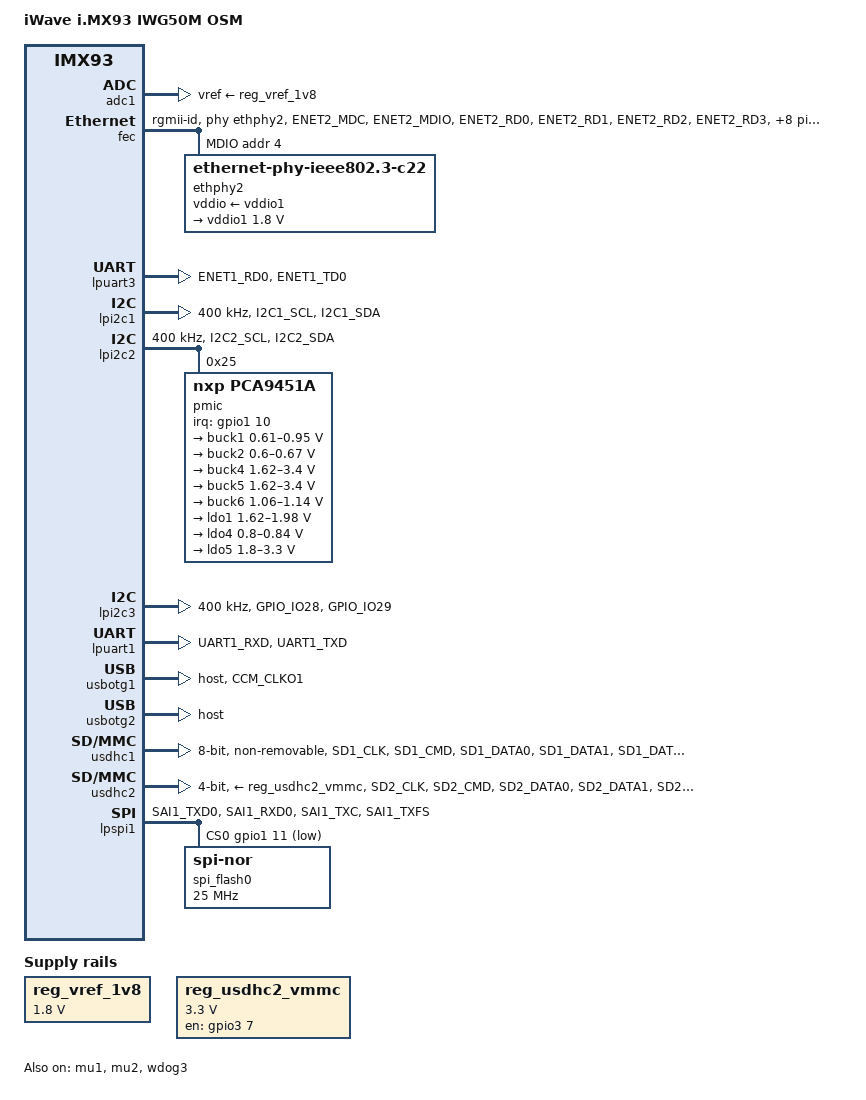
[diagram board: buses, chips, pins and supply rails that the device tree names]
// SPDX-License-Identifier: (GPL-2.0+ OR MIT)
/*
 * Copyright 2025 iWave Global Pvt. Ltd.
 */

/dts-v1/;

#include <dt-bindings/usb/pd.h>
#include "imx93.dtsi"

/ {
	model = "iWave i.MX93 IWG50M OSM";
	compatible = "fsl,imx93-11x11-evk", "fsl,imx93";

	chosen {
		stdout-path = &lpuart1;
	};

	config {
                iwg50m-adc = <&adc1 3>, <&adc1 2>;
	};

	reserved-memory {
		#address-cells = <2>;
		#size-cells = <2>;
		ranges;

		linux,cma {
			compatible = "shared-dma-pool";
			reusable;
			alloc-ranges = <0 0x80000000 0 0x40000000>;
			size = <0 0x10000000>;
			linux,cma-default;
		};

		};


	reg_vref_1v8: regulator-adc-vref {
		compatible = "regulator-fixed";
		regulator-name = "vref_1v8";
		regulator-min-microvolt = <1800000>;
		regulator-max-microvolt = <1800000>;
	};


	reg_usdhc2_vmmc: regulator-usdhc2 {
		compatible = "regulator-fixed";
		pinctrl-names = "default";
		pinctrl-0 = <&pinctrl_reg_usdhc2_vmmc>;
		regulator-name = "VSD_3V3";
		regulator-min-microvolt = <3300000>;
		regulator-max-microvolt = <3300000>;
		gpio = <&gpio3 7 GPIO_ACTIVE_HIGH>;
		off-on-delay-us = <12000>;
		enable-active-high;
	};
};

&adc1 {
	vref-supply = <&reg_vref_1v8>;
	status = "okay";
};

/*&eqos {
        pinctrl-names = "default";
	pinctrl-0 = <&pinctrl_eqos>;
	phy-mode = "rgmii-id";
	phy-handle = <&ethphy1>;
	status = "okay";

	mdio {
		compatible = "snps,dwmac-mdio";
		#address-cells = <1>;
		#size-cells = <0>;
		clock-frequency = <5000000>;

                ethphy1: ethernet-phy@4 {
                        compatible = "ethernet-phy-ieee802.3-c22";
                        reg = <4>;
                        eee-broken-1000t;
                        adi,rx-internal-delay-ps = <2000>; /* 2 nano seconds
                        adi,tx-internal-delay-ps = <2000>;
                        vddio-supply = <&vddio0>;

                        vddio0: vddio-regulator {
                                regulator-min-microvolt = <1800000>;
                                regulator-max-microvolt = <1800000>;
                        };
		};
	};
};*/

&fec {
        pinctrl-names = "default";
	pinctrl-0 = <&pinctrl_fec>;
	phy-mode = "rgmii-id";
	phy-handle = <&ethphy2>;
	fsl,magic-packet;
	status = "okay";

	mdio {
		#address-cells = <1>;
		#size-cells = <0>;
		clock-frequency = <5000000>;

                ethphy2: ethernet-phy@4 {
                        compatible = "ethernet-phy-ieee802.3-c22";
                        reg = <4>;
//                        reset-gpios = <&gpio3 23 GPIO_ACTIVE_LOW>;
//                       irq-gpios = <&gpio3 24 GPIO_ACTIVE_LOW>;
//                       reset-assert-us = <10000>;
 //                       reset-deassert-us = <80000>;
                        eee-broken-1000t;
                        vddio-supply = <&vddio1>;

                        vddio1: vddio-regulator {
                                regulator-min-microvolt = <1800000>;
                                regulator-max-microvolt = <1800000>;
		};

	};
};
};

&lpuart3 { /* UART3: K-Line UART */
        pinctrl-names = "default";
        pinctrl-0 = <&pinctrl_uart3>;
        status = "okay";
};

&lpi2c1 {
	clock-frequency = <400000>;
	pinctrl-names = "default";
	pinctrl-0 = <&pinctrl_lpi2c1>;
	status = "okay";
};

&lpi2c2 {
	clock-frequency = <400000>;
	pinctrl-names = "default";
	pinctrl-0 = <&pinctrl_lpi2c2>;
	status = "okay";


	pmic@25 {
		compatible = "nxp,pca9451a";
		reg = <0x25>;
		pinctrl-names = "default";
		pinctrl-0 = <&pinctrl_pmic>;
		interrupt-parent = <&gpio1>;
		interrupts = <10 IRQ_TYPE_EDGE_FALLING>;

		regulators {
			buck1: BUCK1 {
				regulator-name = "BUCK1";
				regulator-min-microvolt = <610000>;
				regulator-max-microvolt = <950000>;
				regulator-boot-on;
				regulator-always-on;
				regulator-ramp-delay = <3125>;
			};

			buck2: BUCK2 {
				regulator-name = "BUCK2";
				regulator-min-microvolt = <600000>;
				regulator-max-microvolt = <670000>;
				regulator-boot-on;
				regulator-always-on;
				regulator-ramp-delay = <3125>;
			};

			buck4: BUCK4 {
				regulator-name = "BUCK4";
				regulator-min-microvolt = <1620000>;
				regulator-max-microvolt = <3400000>;
				regulator-boot-on;
				regulator-always-on;
			};

			buck5: BUCK5 {
				regulator-name = "BUCK5";
				regulator-min-microvolt = <1620000>;
				regulator-max-microvolt = <3400000>;
				regulator-boot-on;
				regulator-always-on;
			};

			buck6: BUCK6 {
				regulator-name = "BUCK6";
				regulator-min-microvolt = <1060000>;
				regulator-max-microvolt = <1140000>;
				regulator-boot-on;
				regulator-always-on;
			};

			ldo1: LDO1 {
				regulator-name = "LDO1";
				regulator-min-microvolt = <1620000>;
				regulator-max-microvolt = <1980000>;
				regulator-boot-on;
				regulator-always-on;
			};

			ldo4: LDO4 {
				regulator-name = "LDO4";
				regulator-min-microvolt = <800000>;
				regulator-max-microvolt = <840000>;
				regulator-boot-on;
				regulator-always-on;
			};

			ldo5: LDO5 {
				regulator-name = "LDO5";
				regulator-min-microvolt = <1800000>;
				regulator-max-microvolt = <3300000>;
				regulator-boot-on;
				regulator-always-on;
			};
		};
	};
};

&lpi2c3 {
	clock-frequency = <400000>;
	pinctrl-names = "default";
	pinctrl-0 = <&pinctrl_lpi2c3>;
	status = "okay";
};

&lpuart1 { /* console */
	pinctrl-names = "default";
	pinctrl-0 = <&pinctrl_uart1>;
	status = "okay";
};

&mu1 {
	status = "okay";
};

&mu2 {
	status = "okay";
};

&usbotg1 {
	dr_mode = "host";
	pinctrl-names = "default";
	pinctrl-0 = <&pinctrl_usbotg1>;
	disable-over-current;
	status = "okay";
};

&usbotg2 {
	dr_mode = "host";
	status = "okay";
};

&usdhc1 {
	pinctrl-names = "default", "state_100mhz", "state_200mhz";
	pinctrl-0 = <&pinctrl_usdhc1>;
	pinctrl-1 = <&pinctrl_usdhc1_100mhz>;
	pinctrl-2 = <&pinctrl_usdhc1_200mhz>;
	bus-width = <8>;
	non-removable;
	status = "okay";
};

&usdhc2 {
	pinctrl-names = "default", "state_100mhz", "state_200mhz", "sleep";
	pinctrl-0 = <&pinctrl_usdhc2>, <&pinctrl_usdhc2_gpio>;
	pinctrl-1 = <&pinctrl_usdhc2_100mhz>, <&pinctrl_usdhc2_gpio>;
	pinctrl-2 = <&pinctrl_usdhc2_200mhz>, <&pinctrl_usdhc2_gpio>;
	pinctrl-3 = <&pinctrl_usdhc2_sleep>, <&pinctrl_usdhc2_gpio_sleep>;
//	cd-gpios = <&gpio3 00 GPIO_ACTIVE_LOW>;
	vmmc-supply = <&reg_usdhc2_vmmc>;
	bus-width = <4>;
	status = "okay";
	no-mmc;
};

&wdog3 {
	status = "okay";
};

&lpspi1 {
        #address-cells = <1>;
        #size-cells = <0>;
        assigned-clock-rates = <60000000>;
        fsl,spi-num-chipselects = <1>;
	pinctrl-names = "default";
        pinctrl-0 = <&pinctrl_lpspi1>, <&pinctrl_lpspi1_cs>;
        cs-gpios = <&gpio1 11 GPIO_ACTIVE_LOW>;
	status = "okay";

        spi_flash0: spi@0 { /* IS25WP016D-JNLE SPI Flash */
                reg = <0>;
                compatible = "jedec,spi-nor";
                spi-max-frequency = <25000000>;
        };
};

&iomuxc {
	pinctrl_eqos: eqosgrp {
		fsl,pins = <
			MX93_PAD_ENET1_MDC__ENET_QOS_MDC			0x57e
			MX93_PAD_ENET1_MDIO__ENET_QOS_MDIO			0x57e
			MX93_PAD_ENET1_RD0__ENET_QOS_RGMII_RD0			0x57e
			MX93_PAD_ENET1_RD1__ENET_QOS_RGMII_RD1			0x57e
			MX93_PAD_ENET1_RD2__ENET_QOS_RGMII_RD2			0x57e
			MX93_PAD_ENET1_RD3__ENET_QOS_RGMII_RD3			0x57e
			MX93_PAD_ENET1_RXC__CCM_ENET_QOS_CLOCK_GENERATE_RX_CLK	0x5fe
			MX93_PAD_ENET1_RX_CTL__ENET_QOS_RGMII_RX_CTL		0x57e
			MX93_PAD_ENET1_TD0__ENET_QOS_RGMII_TD0			0x57e
			MX93_PAD_ENET1_TD1__ENET_QOS_RGMII_TD1			0x57e
			MX93_PAD_ENET1_TD2__ENET_QOS_RGMII_TD2			0x57e
			MX93_PAD_ENET1_TD3__ENET_QOS_RGMII_TD3			0x57e
			MX93_PAD_ENET1_TXC__CCM_ENET_QOS_CLOCK_GENERATE_TX_CLK	0x5fe
			MX93_PAD_ENET1_TX_CTL__ENET_QOS_RGMII_TX_CTL		0x57e
		>;
	};

	pinctrl_expansion: expansion_pinsgrp {
		fsl,pins = <
                                      /* General */
                        MX93_PAD_GPIO_IO10__GPIO2_IO10                  0x518 /* STATUS  */
                        MX93_PAD_SD3_DATA2__GPIO3_IO24                  0x31d /* LOAD DUMP CIRCUIT Flag_Vin  */

                        /* Cellular */
                        MX93_PAD_GPIO_IO19__GPIO2_IO19                  0x518 /* CELLULAR SWITCH enable */
                        MX93_PAD_CCM_CLKO3__GPIO4_IO28                  0x51d /* CELLULAR PWRKEY */
                        MX93_PAD_SD2_CD_B__GPIO3_IO00                           0x51d /* CELLULAR Reset Pin */
                        MX93_PAD_SD2_RESET_B__GPIO3_IO07                        0x51d /* CELLULAR Status Pin */

                        /* MCU */
                        MX93_PAD_GPIO_IO11__GPIO2_IO11                  0x118 /* MCU ISP pin */
                        MX93_PAD_GPIO_IO00__GPIO2_IO00                  0x118 /* MCU Reset pin */
                        MX93_PAD_GPIO_IO02__GPIO2_IO02                  0x118 /* MCU nHostIRQ */

                        /* Camera */
/*                        MX93_PAD_CCM_CLKO4__GPIO4_IO29                  0x31d  Camera deserializer GPIO pin.
                        MX93_PAD_SD3_DATA1__GPIO3_IO23                  0x31d  Camera deserializer GPIO pin.
                        MX93_PAD_SD3_DATA3__GPIO3_IO25                  0x51d  Camera deserializer reset pin */
/*                      MX93_PAD_GPIO_IO06__GPIO2_IO06                  0x118 Camera deserializer reset pin*/

/*                        MX93_PAD_GPIO_IO06__GPIO2_IO06                  0x318  PDn pin for Wi-Fi*/

                        MX93_PAD_GPIO_IO29__GPIO2_IO29                  0x518 /* Touch Interrupt For Display */

                        MX93_PAD_SD3_DATA1__GPIO3_IO23                  0x51d /* ADC1 MCU */
		MX93_PAD_GPIO_IO16__GPIO2_IO16                  0x518 /*CAN-FD1 STB pin */
			MX93_PAD_GPIO_IO17__GPIO2_IO17                  0x518 /* CAN-FD2 STB pin */
				
			MX93_PAD_CCM_CLKO2__GPIO3_IO27                  0x51d /* RTC Irq */
			MX93_PAD_SD3_CMD__GPIO3_IO21                            0x51d /* CAN FD 3 Irq */
			MX93_PAD_SD3_DATA0__GPIO3_IO22                  0x51d /* CAN FD 4 Irq */
			MX93_PAD_SD3_DATA2__GPIO3_IO24                  0x51d /* LOAD DUMP CIRCUIT Flag_Vin  */
			MX93_PAD_CCM_CLKO3__GPIO4_IO28                  0x51d /* CELLULAR PWRKEY */
			MX93_PAD_SD2_CD_B__GPIO3_IO00                           0x51d /* CELLULAR Reset Pin */
			MX93_PAD_SD2_RESET_B__GPIO3_IO07                        0x51d /* CELLULAR Status Pin */

                        MX93_PAD_GPIO_IO06__GPIO2_IO06                  0x118 /* Camera deserializer reset pin*/

                        /* OE Pins */
                        MX93_PAD_CCM_CLKO4__GPIO4_IO29                  0x118 /* OE pin for UART */

                        MX93_PAD_GPIO_IO28__GPIO2_IO28                  0x518 /* 3V3 Rall Switch */

                        MX93_PAD_GPIO_IO29__GPIO2_IO29                  0x518 /* Touch Interrupt For Display */

			MX93_PAD_GPIO_IO08__GPIO2_IO08                  0x518 /* temproray GPIO for UART-D TX */
                        MX93_PAD_GPIO_IO09__GPIO2_IO09                  0x518 /* temproray GPIO for UART-D RX */
			
/*			MX93_PAD_SD2_CLK__GPIO3_IO01                            0x51e  
			MX93_PAD_SD2_CMD__GPIO3_IO02                            0x51e  
                       MX93_PAD_SD2_DATA0__GPIO3_IO03                  0x51e 
                       MX93_PAD_SD2_DATA1__GPIO3_IO04                  0x51e 
                       MX93_PAD_SD2_DATA2__GPIO3_IO05                  0x51e
              	       MX93_PAD_SD2_DATA3__GPIO3_IO06                  0x51e 
			MX93_PAD_GPIO_IO12__GPIO2_IO12                  0x3f8 
			MX93_PAD_SAI1_TXFS__GPIO1_IO11                  0x3fd */
			
/*			MX93_PAD_GPIO_IO25__CAN2_TX                             0x139e  
			MX93_PAD_GPIO_IO27__CAN2_RX                             0x139e 
			MX93_PAD_GPIO_IO04__LPUART6_TX                  0x31D
			MX93_PAD_GPIO_IO05__LPUART6_RX                  0x31D */
			MX93_PAD_GPIO_IO08__LPUART7_TX                  0x518
			MX93_PAD_GPIO_IO09__LPUART7_RX                  0x518 


/*			MX93_PAD_GPIO_IO13__LPSPI8_SIN                  0x3fc
			MX93_PAD_GPIO_IO14__LPSPI8_SOUT                 0x3fc
			MX93_PAD_GPIO_IO15__LPSPI8_SCK                  0x3fc */

		>;
	};

	pinctrl_fec: fecgrp {
		fsl,pins = <
			MX93_PAD_ENET2_MDC__ENET1_MDC			0x57e
			MX93_PAD_ENET2_MDIO__ENET1_MDIO			0x57e
			MX93_PAD_ENET2_RD0__ENET1_RGMII_RD0		0x57e
			MX93_PAD_ENET2_RD1__ENET1_RGMII_RD1		0x57e
			MX93_PAD_ENET2_RD2__ENET1_RGMII_RD2		0x57e
			MX93_PAD_ENET2_RD3__ENET1_RGMII_RD3		0x57e
			MX93_PAD_ENET2_RXC__ENET1_RGMII_RXC		0x5fe
			MX93_PAD_ENET2_RX_CTL__ENET1_RGMII_RX_CTL	0x57e
			MX93_PAD_ENET2_TD0__ENET1_RGMII_TD0		0x57e
			MX93_PAD_ENET2_TD1__ENET1_RGMII_TD1		0x57e
			MX93_PAD_ENET2_TD2__ENET1_RGMII_TD2		0x57e
			MX93_PAD_ENET2_TD3__ENET1_RGMII_TD3		0x57e
			MX93_PAD_ENET2_TXC__ENET1_RGMII_TXC		0x5fe
			MX93_PAD_ENET2_TX_CTL__ENET1_RGMII_TX_CTL	0x57e
		>;
	};



	pinctrl_uart1: uart1grp {
		fsl,pins = <
			MX93_PAD_UART1_RXD__LPUART1_RX			0x31e
			MX93_PAD_UART1_TXD__LPUART1_TX			0x31e
		>;
	};


	pinctrl_lpi2c1: lpi2c1grp {
		fsl,pins = <
			MX93_PAD_I2C1_SCL__LPI2C1_SCL			0x40000b9e
			MX93_PAD_I2C1_SDA__LPI2C1_SDA			0x40000b9e
		>;
	};

	pinctrl_lpi2c2: lpi2c2grp {
		fsl,pins = <
			MX93_PAD_I2C2_SCL__LPI2C2_SCL			0x40000b9e
			MX93_PAD_I2C2_SDA__LPI2C2_SDA			0x40000b9e
		>;
	};

        pinctrl_uart3: uart3grp { /* UART3: K-Line */
                fsl,pins = <
                        MX93_PAD_ENET1_RD0__LPUART3_RX                  0x319
                        MX93_PAD_ENET1_TD0__LPUART3_TX                  0x319
                >;

        };

        pinctrl_pmic: pmic { /* PMIC: IOMUX Pin configuration for PMIC */
		fsl,pins = <
                        MX93_PAD_PDM_BIT_STREAM1__GPIO1_IO10            0x31e /* PMIC INT */
		>;
	};

	pinctrl_iis2mdc0: iis2mdc0grp {
		fsl,pins = <
                	MX93_PAD_GPIO_IO26__GPIO2_IO26                 0x518/* Magnetometer Irq */ 
		>;
	};

	pinctrl_lpi2c3: lpi2c3grp {
		fsl,pins = <
			MX93_PAD_GPIO_IO28__LPI2C3_SDA			0x40000b9e
			MX93_PAD_GPIO_IO29__LPI2C3_SCL			0x40000b9e
		>;
	};

	/* need to config the SION for data and cmd pad, refer to ERR052021 */
	pinctrl_usdhc1: usdhc1grp {
		fsl,pins = <
			MX93_PAD_SD1_CLK__USDHC1_CLK		0x1582
			MX93_PAD_SD1_CMD__USDHC1_CMD		0x40001382
			MX93_PAD_SD1_DATA0__USDHC1_DATA0	0x40001382
			MX93_PAD_SD1_DATA1__USDHC1_DATA1	0x40001382
			MX93_PAD_SD1_DATA2__USDHC1_DATA2	0x40001382
			MX93_PAD_SD1_DATA3__USDHC1_DATA3	0x40001382
			MX93_PAD_SD1_DATA4__USDHC1_DATA4	0x40001382
			MX93_PAD_SD1_DATA5__USDHC1_DATA5	0x40001382
			MX93_PAD_SD1_DATA6__USDHC1_DATA6	0x40001382
			MX93_PAD_SD1_DATA7__USDHC1_DATA7	0x40001382
			MX93_PAD_SD1_STROBE__USDHC1_STROBE	0x1582
		>;
	};

	/* need to config the SION for data and cmd pad, refer to ERR052021 */
	pinctrl_usdhc1_100mhz: usdhc1-100mhzgrp {
		fsl,pins = <
			MX93_PAD_SD1_CLK__USDHC1_CLK		0x158e
			MX93_PAD_SD1_CMD__USDHC1_CMD		0x4000138e
			MX93_PAD_SD1_DATA0__USDHC1_DATA0	0x4000138e
			MX93_PAD_SD1_DATA1__USDHC1_DATA1	0x4000138e
			MX93_PAD_SD1_DATA2__USDHC1_DATA2	0x4000138e
			MX93_PAD_SD1_DATA3__USDHC1_DATA3	0x4000138e
			MX93_PAD_SD1_DATA4__USDHC1_DATA4	0x4000138e
			MX93_PAD_SD1_DATA5__USDHC1_DATA5	0x4000138e
			MX93_PAD_SD1_DATA6__USDHC1_DATA6	0x4000138e
			MX93_PAD_SD1_DATA7__USDHC1_DATA7	0x4000138e
			MX93_PAD_SD1_STROBE__USDHC1_STROBE	0x158e
		>;
	};

	/* need to config the SION for data and cmd pad, refer to ERR052021 */
	pinctrl_usdhc1_200mhz: usdhc1-200mhzgrp {
		fsl,pins = <
			MX93_PAD_SD1_CLK__USDHC1_CLK		0x15fe
			MX93_PAD_SD1_CMD__USDHC1_CMD		0x400013fe
			MX93_PAD_SD1_DATA0__USDHC1_DATA0	0x400013fe
			MX93_PAD_SD1_DATA1__USDHC1_DATA1	0x400013fe
			MX93_PAD_SD1_DATA2__USDHC1_DATA2	0x400013fe
			MX93_PAD_SD1_DATA3__USDHC1_DATA3	0x400013fe
			MX93_PAD_SD1_DATA4__USDHC1_DATA4	0x400013fe
			MX93_PAD_SD1_DATA5__USDHC1_DATA5	0x400013fe
			MX93_PAD_SD1_DATA6__USDHC1_DATA6	0x400013fe
			MX93_PAD_SD1_DATA7__USDHC1_DATA7	0x400013fe
			MX93_PAD_SD1_STROBE__USDHC1_STROBE	0x15fe
		>;
	};

        pinctrl_usbotg1: usb1grp { /* USB1: USB OTG IOMUX Pin COnfiguration */
		fsl,pins = <
                         MX93_PAD_CCM_CLKO1__GPIO3_IO26              0x31e /*USB1 Power Enable GPIO */
		>;
	};

        pinctrl_lpspi1: lpspi1grp { /* LPSPI1: LPSPI1 IOMUX Pin Configuration */
		fsl,pins = <
                        MX93_PAD_SAI1_TXD0__LPSPI1_SCK                  0x3fe
                        MX93_PAD_SAI1_RXD0__LPSPI1_SOUT                 0x3fe
                        MX93_PAD_SAI1_TXC__LPSPI1_SIN                   0x3fe
		>;
	};

        pinctrl_lpspi1_cs: lpspi1_cs_grp {
		fsl,pins = <
                        MX93_PAD_SAI1_TXFS__GPIO1_IO11             0x31e
		>;
	};

	pinctrl_reg_usdhc2_vmmc: regusdhc2vmmcgrp {
		fsl,pins = <
//			MX93_PAD_SD2_RESET_B__GPIO3_IO07	0x31e
		>;
	};

	pinctrl_usdhc2_gpio: usdhc2gpiogrp {
		fsl,pins = <
//			MX93_PAD_SD2_CD_B__GPIO3_IO00		0x31e
		>;
	};

	pinctrl_usdhc2_gpio_sleep: usdhc2gpiosleepgrp {
		fsl,pins = <
//			MX93_PAD_SD2_CD_B__GPIO3_IO00		0x51e
		>;
	};

	/* need to config the SION for data and cmd pad, refer to ERR052021 */
	pinctrl_usdhc2: usdhc2grp {
		fsl,pins = <
			MX93_PAD_SD2_CLK__USDHC2_CLK		0x1582
			MX93_PAD_SD2_CMD__USDHC2_CMD		0x40001382
			MX93_PAD_SD2_DATA0__USDHC2_DATA0	0x40001382
			MX93_PAD_SD2_DATA1__USDHC2_DATA1	0x40001382
			MX93_PAD_SD2_DATA2__USDHC2_DATA2	0x40001382
			MX93_PAD_SD2_DATA3__USDHC2_DATA3	0x40001382
			MX93_PAD_SD2_VSELECT__USDHC2_VSELECT	0x51e
		>;
	};

	/* need to config the SION for data and cmd pad, refer to ERR052021 */
	pinctrl_usdhc2_100mhz: usdhc2-100mhzgrp {
		fsl,pins = <
			MX93_PAD_SD2_CLK__USDHC2_CLK		0x158e
			MX93_PAD_SD2_CMD__USDHC2_CMD		0x4000138e
			MX93_PAD_SD2_DATA0__USDHC2_DATA0	0x4000138e
			MX93_PAD_SD2_DATA1__USDHC2_DATA1	0x4000138e
			MX93_PAD_SD2_DATA2__USDHC2_DATA2	0x4000138e
			MX93_PAD_SD2_DATA3__USDHC2_DATA3	0x4000138e
			MX93_PAD_SD2_VSELECT__USDHC2_VSELECT	0x51e
		>;
	};

	/* need to config the SION for data and cmd pad, refer to ERR052021 */
	pinctrl_usdhc2_200mhz: usdhc2-200mhzgrp {
		fsl,pins = <
			MX93_PAD_SD2_CLK__USDHC2_CLK		0x15fe
			MX93_PAD_SD2_CMD__USDHC2_CMD		0x400013fe
			MX93_PAD_SD2_DATA0__USDHC2_DATA0	0x400013fe
			MX93_PAD_SD2_DATA1__USDHC2_DATA1	0x400013fe
			MX93_PAD_SD2_DATA2__USDHC2_DATA2	0x400013fe
			MX93_PAD_SD2_DATA3__USDHC2_DATA3	0x400013fe
			MX93_PAD_SD2_VSELECT__USDHC2_VSELECT	0x51e
		>;
	};

	pinctrl_usdhc2_sleep: usdhc2sleepgrp {
		fsl,pins = <
			MX93_PAD_SD2_CLK__GPIO3_IO01            0x51e
			MX93_PAD_SD2_CMD__GPIO3_IO02		0x51e
			MX93_PAD_SD2_DATA0__GPIO3_IO03		0x51e
			MX93_PAD_SD2_DATA1__GPIO3_IO04		0x51e
			MX93_PAD_SD2_DATA2__GPIO3_IO05		0x51e
			MX93_PAD_SD2_DATA3__GPIO3_IO06		0x51e
			MX93_PAD_SD2_VSELECT__GPIO3_IO19	0x51e
		>;
	};

};
